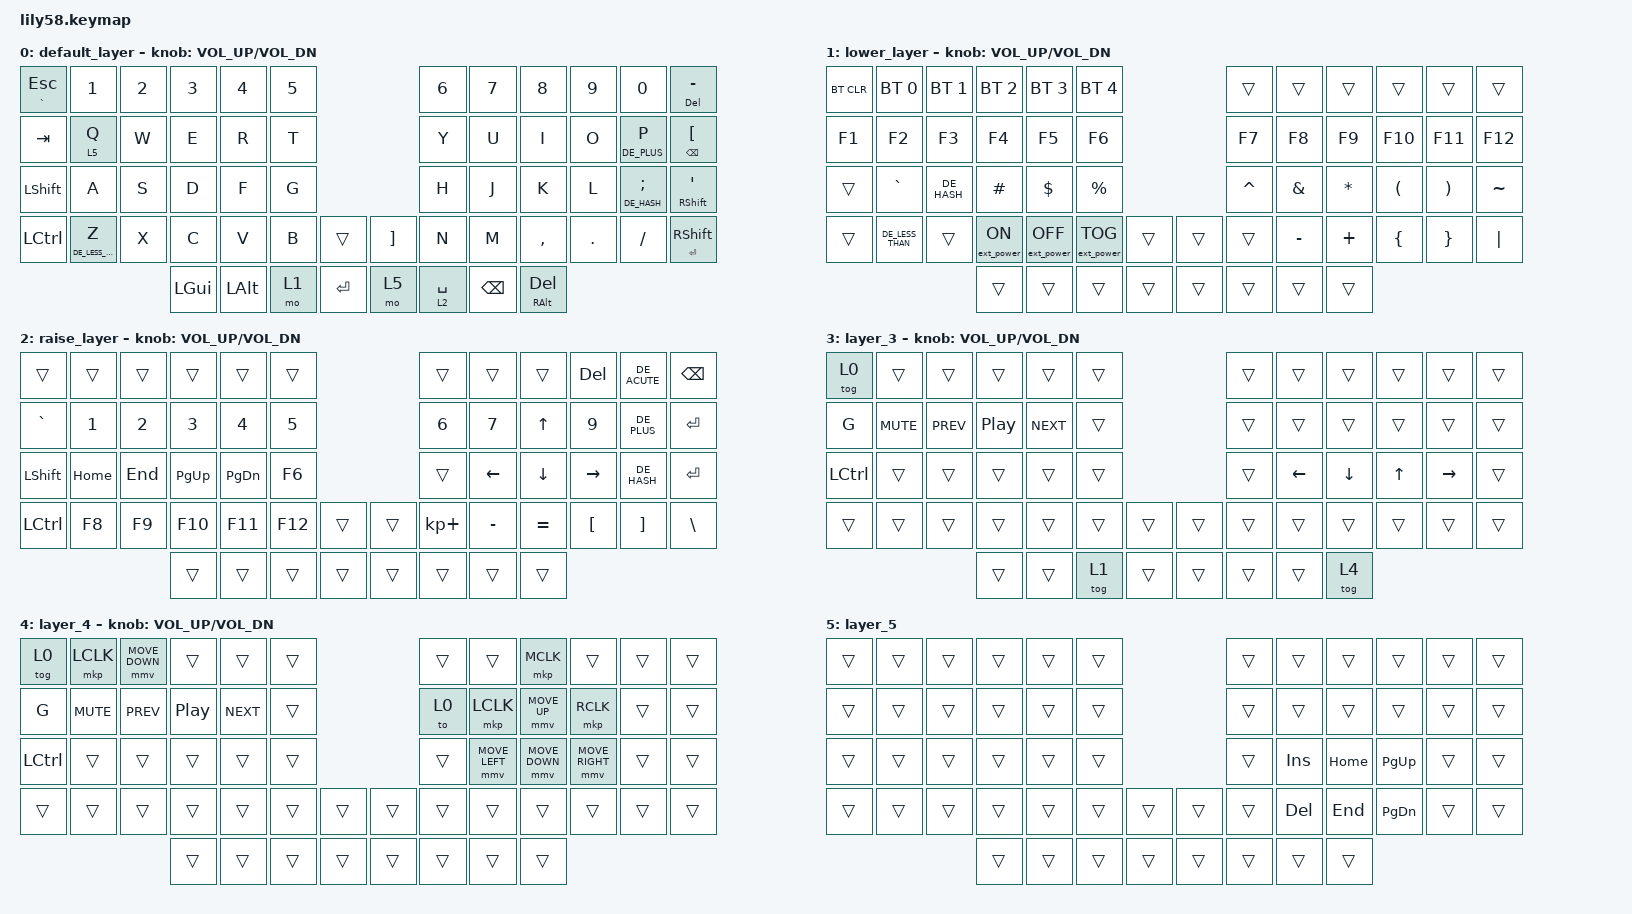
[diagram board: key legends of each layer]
/*
 * Copyright (c) 2020 The ZMK Contributors
 *
 * SPDX-License-Identifier: MIT sdf
 */

#include "keys_de.h"
#include <behaviors.dtsi>
#include <dt-bindings/zmk/bt.h>
#include <dt-bindings/zmk/ext_power.h>
#include <dt-bindings/zmk/keys.h>
#include <dt-bindings/zmk/pointing.h>

/ {
    combos {
        compatible = "zmk,combos";

        testcombo {
            bindings = <&tog 3>;
            key-positions = <13 14>;
        };

        combo_mouse {
            bindings = <&tog 4>;
            key-positions = <15 16>;
        };

        combo_alt_f4 {
            bindings = <&kp LA(F4)>;
            key-positions = <25 26>;
        };
    };

    keymap {
        compatible = "zmk,keymap";

        default_layer {
            // ------------------------------------------------------------------------------------------------------------
            // |  ESC  |  1  |  2  |  3   |  4   |  5   |                   |  6   |  7    |  8    |  9   |   0   |   `   |
            // |  TAB  |  Q  |  W  |  E   |  R   |  T   |                   |  Y   |  U    |  I    |  O   |   P   |   -   |
            // |  CTRL |  A  |  S  |  D   |  F   |  G   |                   |  H   |  J    |  K    |  L   |   ;   |   '   |
            // | SHIFT |  Z  |  X  |  C   |  V   |  B   |   "["  |  |  "]"  |  N   |  M    |  ,    |  .   |   /   | SHIFT |
            //                     | ALT  | GUI  | LOWER|  SPACE |  | ENTER | RAISE| BSPC  | GUI   |

            bindings = <
&mt GRAVE ESC                &kp N1  &kp N2  &kp N3    &kp N4    &kp N5                         &kp N6       &kp N7         &kp N8      &kp N9   &kp N0         &mt DELETE MINUS
&kp TAB                    &lt 5 Q   &kp W   &kp E     &kp R     &kp T                          &kp Y        &kp U          &kp I       &kp O    &mt DE_PLUS P  &mt BACKSPACE LBKT
&kp LEFT_SHIFT   &kp A   &kp S   &kp D     &kp F     &kp G                          &kp H        &kp J          &kp K       &kp L    &mt DE_HASH SEMI           &mt RSHFT SQT
&kp LCTRL                    &mt DE_LESS_THAN Z    &kp X   &kp C     &kp V     &kp B   &trans       &kp RBKT  &kp N  &kp M  &kp COMMA   &kp DOT  &kp FSLH  &mt ENTER RSHFT
                                             &kp LGUI  &kp LALT  &mo 1   &kp ENTER    &mo 5     &lt 2 SPACE  &kp BACKSPACE  &mt RALT DELETE
            >;

            sensor-bindings = <&inc_dec_kp C_VOL_UP C_VOL_DN>;
        };

        lower_layer {
            // ------------------------------------------------------------------------------------------------------------
            // | BTCLR | BT1 | BT2 |  BT3 |  BT4 |  BT5 |                   |      |       |       |      |       |       |
            // |  F1   |  F2 |  F3 |  F4  |  F5  |  F6  |                   |  F7  |  F8   |  F9   |  F10 |  F11  |  F12  |
            // |   `   |  !  |  @  |  #   |  $   |  %   |                   |  ^   |  &    |  *    |  (   |   )   |   ~   |
            // |       |     |     |      |      |      |        |  |       |      |  _    |  +    |  {   |   }   |  "|"  |
            //                     |      |      |      |        |  |       |      |       |       |

            bindings = <
&bt BT_CLR  &bt BT_SEL 0      &bt BT_SEL 1  &bt BT_SEL 2      &bt BT_SEL 3       &bt BT_SEL 4                         &trans     &trans     &trans     &trans    &trans    &trans
&kp F1      &kp F2            &kp F3        &kp F4            &kp F5             &kp F6                               &kp F7     &kp F8     &kp F9     &kp F10   &kp F11   &kp F12
&trans      &kp GRAVE         &kp DE_HASH   &kp HASH          &kp DOLLAR         &kp PRCNT                            &kp CARET  &kp AMPS   &kp ASTRK  &kp LPAR  &kp RPAR  &kp TILDE
&trans      &kp DE_LESS_THAN  &trans        &ext_power EP_ON  &ext_power EP_OFF  &ext_power EP_TOG  &trans    &trans  &trans     &kp MINUS  &kp PLUS   &kp LBRC  &kp RBRC  &kp PIPE
                                            &trans            &trans             &trans             &trans    &trans  &trans     &trans     &trans
            >;

            sensor-bindings = <&inc_dec_kp C_VOL_UP C_VOL_DN>;
        };

        raise_layer {
            // ------------------------------------------------------------------------------------------------------------
            // |       |     |     |      |      |      |                   |      |       |       |      |       |       |
            // |   `   |  1  |  2  |  3   |  4   |  5   |                   |  6   |   7   |   8   |  9   |   0   |       |
            // |   F1  |  F2 |  F3 |  F4  |  F5  |  F6  |                   |      |   <-  |   v   |  ^   |  ->   |       |
            // |   F7  |  F8 |  F9 |  F10 |  F11 |  F12 |        |  |       |  +   |   -   |   =   |  [   |   ]   |   \   |
            //                     |      |      |      |        |  |       |      |       |       |

            bindings = <
&trans          &trans    &trans   &trans       &trans         &trans                     &trans       &trans     &trans     &kp DELETE  &kp DE_ACUTE  &kp BACKSPACE
&kp GRAVE       &kp N1    &kp N2   &kp N3       &kp N4         &kp N5                     &kp N6       &kp N7     &kp UP     &kp N9      &kp DE_PLUS   &kp ENTER
&kp LEFT_SHIFT  &kp HOME  &kp END  &kp PAGE_UP  &kp PAGE_DOWN  &kp F6                     &trans       &kp LEFT   &kp DOWN   &kp RIGHT   &kp DE_HASH   &kp ENTER
&kp LCTRL       &kp F8    &kp F9   &kp F10      &kp F11        &kp F12  &trans    &trans  &kp KP_PLUS  &kp MINUS  &kp EQUAL  &kp LBKT    &kp RBKT      &kp BSLH
                                   &trans       &trans         &trans   &trans    &trans  &trans       &trans     &trans
            >;

            sensor-bindings = <&inc_dec_kp C_VOL_UP C_VOL_DN>;
        };

        layer_3 {
            bindings = <
&tog 0     &trans      &trans      &trans            &trans      &trans                    &trans  &trans    &trans    &trans  &trans     &trans
&kp G      &kp C_MUTE  &kp C_PREV  &kp C_PLAY_PAUSE  &kp C_NEXT  &trans                    &trans  &trans    &trans    &trans  &trans     &trans
&kp LCTRL  &trans      &trans      &trans            &trans      &trans                    &trans  &kp LEFT  &kp DOWN  &kp UP  &kp RIGHT  &trans
&trans     &trans      &trans      &trans            &trans      &trans  &trans    &trans  &trans  &trans    &trans    &trans  &trans     &trans
                                   &trans            &trans      &tog 1  &trans    &trans  &trans  &trans    &tog 4
            >;

            sensor-bindings = <&inc_dec_kp C_VOL_UP C_VOL_DN>;
        };

        layer_4 {
            bindings = <
&tog 0     &mkp LCLK   &mmv MOVE_DOWN  &trans            &trans      &trans                    &trans  &trans          &mkp MCLK       &trans           &trans  &trans
&kp G      &kp C_MUTE  &kp C_PREV      &kp C_PLAY_PAUSE  &kp C_NEXT  &trans                    &to 0   &mkp LCLK       &mmv MOVE_UP    &mkp RCLK        &trans  &trans
&kp LCTRL  &trans      &trans          &trans            &trans      &trans                    &trans  &mmv MOVE_LEFT  &mmv MOVE_DOWN  &mmv MOVE_RIGHT  &trans  &trans
&trans     &trans      &trans          &trans            &trans      &trans  &trans    &trans  &trans  &trans          &trans          &trans           &trans  &trans
                                       &trans            &trans      &trans  &trans    &trans  &trans  &trans          &trans
            >;

            sensor-bindings = <&inc_dec_kp C_VOL_UP C_VOL_DN>;
        };

        layer_5 {
            bindings = <
&trans  &trans  &trans  &trans  &trans  &trans                    &trans  &trans  &trans  &trans  &trans  &trans
&trans  &trans  &trans  &trans  &trans  &trans                    &trans  &trans  &trans  &trans  &trans  &trans
&trans  &trans  &trans  &trans  &trans  &trans                    &trans  &kp INSERT  &kp HOME  &kp PAGE_UP  &trans  &trans
&trans  &trans  &trans  &trans  &trans  &trans  &trans    &trans  &trans  &kp DELETE  &kp END  &kp PAGE_DOWN  &trans  &trans
                        &trans  &trans  &trans  &trans    &trans  &trans  &trans  &trans
            >;
        };
    };

        layer_empty {
            bindings = <
&trans  &trans  &trans  &trans  &trans  &trans                    &trans  &trans  &trans  &trans  &trans  &trans
&trans  &trans  &trans  &trans  &trans  &trans                    &trans  &trans  &trans  &trans  &trans  &trans
&trans  &trans  &trans  &trans  &trans  &trans                    &trans  &trans  &trans  &trans  &trans  &trans
&trans  &trans  &trans  &trans  &trans  &trans  &trans    &trans  &trans  &trans  &trans  &trans  &trans  &trans
                        &trans  &trans  &trans  &trans    &trans  &trans  &trans  &trans
            >;
        };
};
